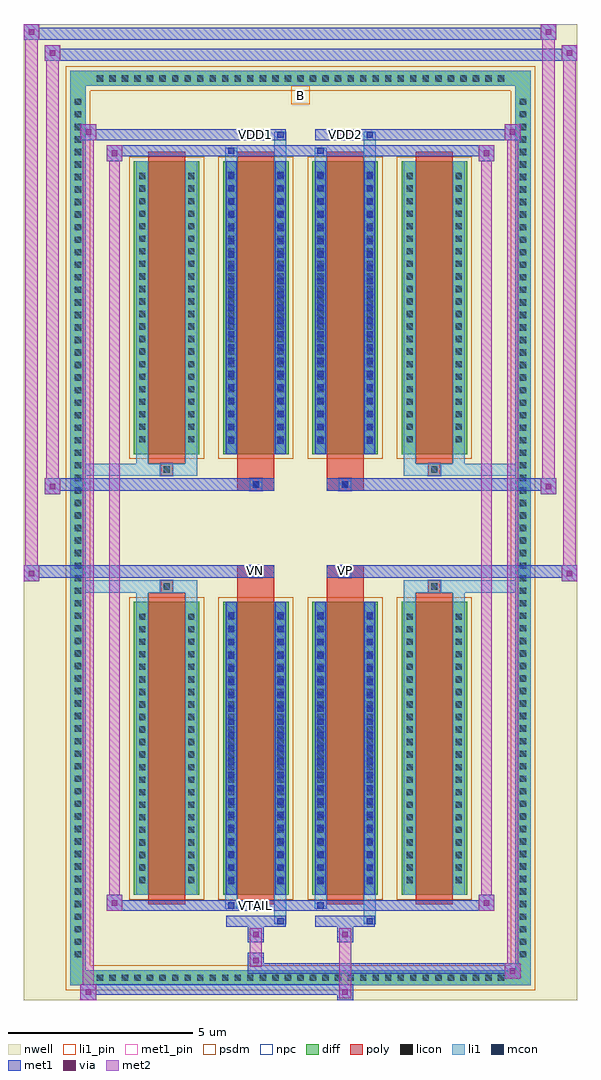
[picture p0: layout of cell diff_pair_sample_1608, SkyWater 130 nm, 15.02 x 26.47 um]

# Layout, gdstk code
import gdstk
lib = gdstk.Library(unit=1e-6, precision=5e-09)
def R(c, l, rs):  # rectangles x0, y0, x1, y1
    for r in rs: c.add(gdstk.rectangle(r[:2], r[2:], *l))
def A(c, l, x, y, w, h, nx, ny, dx, dy):  # array of equal rectangles
    R(c, l, [(x+i*dx, y+j*dy, x+i*dx+w, y+j*dy+h) for i in range(nx) for j in range(ny)])
def P(c, l, *ps):  # polygons
    for p in ps: c.add(gdstk.Polygon(p, *l))
nwell = (64, 20)
diff = (65, 20)
poly = (66, 20)
licon = (66, 44)
li1_pin = (67, 16)
li1 = (67, 20)
mcon = (67, 44)
met1_pin = (68, 16)
met1 = (68, 20)
via = (68, 44)
met2 = (69, 20)
psdm = (94, 20)
npc = (95, 20)

diff_pair_sample_1608 = lib.new_cell('diff_pair_sample_1608')
R(diff_pair_sample_1608, nwell, [(-7.51,-12.8,7.51,13.67), (-4.83,-10.99,-0.01,-0.815), (0.01,-10.99,4.83,-0.815), (-4.83,0.815,-0.01,10.99), (0.01,0.815,4.83,10.99)])
A(diff_pair_sample_1608, diff, -5.645, -12.4, 0.41, 0.41, 33, 2, 0.34, 24.39)
A(diff_pair_sample_1608, diff, -6.24, -11.765, 0.41, 0.41, 1, 69, 0, 0.34)
A(diff_pair_sample_1608, diff, 5.83, -11.765, 0.41, 0.41, 1, 69, 0, 0.34)
A(diff_pair_sample_1608, diff, -4.52, -9.945, 1.78, 7.94, 4, 2, 2.42, 11.95)
R(diff_pair_sample_1608, diff, [(-5.645,-12.4,5.645,-11.99), (-6.24,-11.765,-5.83,11.765), (5.83,-11.765,6.24,11.765), (-5.645,11.99,5.645,12.4)])
P(diff_pair_sample_1608, diff, [(6.24,12.4),(-6.24,12.4),(-6.24,-11.99),(-5.83,-11.99),(-5.83,11.99),(5.83,11.99),(5.83,-11.99),(-5.83,-11.99),(-6.24,-11.99),(-6.24,-12.4),(6.24,-12.4)])
A(diff_pair_sample_1608, poly, -4.13, -10.2, 1, 8.45, 4, 2, 2.42, 11.95)
R(diff_pair_sample_1608, poly, [(-3.795,-1.75,-3.465,-1.42), (-3.795,-1.75,-3.465,-1.42), (-1.71,-1.75,-0.71,-1.345), (0.71,-1.75,1.71,-1.345), (3.465,-1.75,3.795,-1.42), (3.465,-1.75,3.795,-1.42), (-1.71,-1.345,-0.71,-1.015), (-1.375,-1.345,-1.045,-1.015), (0.71,-1.345,1.71,-1.015), (1.045,-1.345,1.375,-1.015), (-1.71,1.015,-0.71,1.345), (-1.375,1.015,-1.045,1.345), (0.71,1.015,1.71,1.345), (1.045,1.015,1.375,1.345), (-1.71,1.345,-0.71,1.75), (0.71,1.345,1.71,1.75), (-3.795,1.42,-3.465,1.75), (-3.795,1.42,-3.465,1.75), (3.465,1.42,3.795,1.75), (3.465,1.42,3.795,1.75)])
A(diff_pair_sample_1608, licon, -5.525, -12.28, 0.17, 0.17, 33, 2, 0.34, 24.39)
A(diff_pair_sample_1608, licon, -6.12, -11.645, 0.17, 0.17, 1, 69, 0, 0.34)
A(diff_pair_sample_1608, licon, 5.95, -11.645, 0.17, 0.17, 1, 69, 0, 0.34)
A(diff_pair_sample_1608, licon, -4.38, -9.63, 0.17, 0.17, 1, 22, 0, 0.34)
A(diff_pair_sample_1608, licon, -3.05, -9.63, 0.17, 0.17, 1, 22, 0, 0.34)
A(diff_pair_sample_1608, licon, -1.96, -9.63, 0.17, 0.17, 1, 22, 0, 0.34)
A(diff_pair_sample_1608, licon, -0.63, -9.63, 0.17, 0.17, 1, 22, 0, 0.34)
A(diff_pair_sample_1608, licon, 0.46, -9.63, 0.17, 0.17, 1, 22, 0, 0.34)
A(diff_pair_sample_1608, licon, 1.79, -9.63, 0.17, 0.17, 1, 22, 0, 0.34)
A(diff_pair_sample_1608, licon, 2.88, -9.63, 0.17, 0.17, 1, 22, 0, 0.34)
A(diff_pair_sample_1608, licon, 4.21, -9.63, 0.17, 0.17, 1, 22, 0, 0.34)
A(diff_pair_sample_1608, licon, -4.38, 2.32, 0.17, 0.17, 1, 22, 0, 0.34)
A(diff_pair_sample_1608, licon, -3.05, 2.32, 0.17, 0.17, 1, 22, 0, 0.34)
A(diff_pair_sample_1608, licon, -1.96, 2.32, 0.17, 0.17, 1, 22, 0, 0.34)
A(diff_pair_sample_1608, licon, -0.63, 2.32, 0.17, 0.17, 1, 22, 0, 0.34)
A(diff_pair_sample_1608, licon, 0.46, 2.32, 0.17, 0.17, 1, 22, 0, 0.34)
A(diff_pair_sample_1608, licon, 1.79, 2.32, 0.17, 0.17, 1, 22, 0, 0.34)
A(diff_pair_sample_1608, licon, 2.88, 2.32, 0.17, 0.17, 1, 22, 0, 0.34)
A(diff_pair_sample_1608, licon, 4.21, 2.32, 0.17, 0.17, 1, 22, 0, 0.34)
R(diff_pair_sample_1608, licon, [(-3.715,-1.67,-3.545,-1.5), (3.545,-1.67,3.715,-1.5), (-1.295,-1.265,-1.125,-1.095), (1.125,-1.265,1.295,-1.095), (-1.295,1.095,-1.125,1.265), (1.125,1.095,1.295,1.265), (-3.715,1.5,-3.545,1.67), (3.545,1.5,3.715,1.67)])
R(diff_pair_sample_1608, li1_pin, [(-0.25,11.49,0.25,11.99)])
A(diff_pair_sample_1608, li1, -5.605, -12.36, 0.33, 0.33, 33, 2, 0.34, 24.39)
A(diff_pair_sample_1608, li1, -6.2, -11.725, 0.33, 0.33, 1, 69, 0, 0.34)
A(diff_pair_sample_1608, li1, 5.87, -11.725, 0.33, 0.33, 1, 69, 0, 0.34)
A(diff_pair_sample_1608, li1, -4.46, -9.71, 0.33, 0.33, 1, 22, 0, 0.34)
A(diff_pair_sample_1608, li1, -3.13, -9.71, 0.33, 0.33, 1, 22, 0, 0.34)
A(diff_pair_sample_1608, li1, -2.04, -9.71, 0.33, 0.33, 1, 22, 0, 0.34)
A(diff_pair_sample_1608, li1, -0.71, -9.71, 0.33, 0.33, 1, 22, 0, 0.34)
A(diff_pair_sample_1608, li1, 0.38, -9.71, 0.33, 0.33, 1, 22, 0, 0.34)
A(diff_pair_sample_1608, li1, 1.71, -9.71, 0.33, 0.33, 1, 22, 0, 0.34)
A(diff_pair_sample_1608, li1, 2.8, -9.71, 0.33, 0.33, 1, 22, 0, 0.34)
A(diff_pair_sample_1608, li1, 4.13, -9.71, 0.33, 0.33, 1, 22, 0, 0.34)
A(diff_pair_sample_1608, li1, -1.96, -9.66, 0.17, 0.17, 1, 21, 0, 0.36)
A(diff_pair_sample_1608, li1, -0.63, -9.66, 0.17, 0.17, 1, 21, 0, 0.36)
A(diff_pair_sample_1608, li1, 0.46, -9.66, 0.17, 0.17, 1, 21, 0, 0.36)
A(diff_pair_sample_1608, li1, 1.79, -9.66, 0.17, 0.17, 1, 21, 0, 0.36)
A(diff_pair_sample_1608, li1, -4.46, 2.24, 0.33, 0.33, 1, 22, 0, 0.34)
A(diff_pair_sample_1608, li1, -3.13, 2.24, 0.33, 0.33, 1, 22, 0, 0.34)
A(diff_pair_sample_1608, li1, -2.04, 2.24, 0.33, 0.33, 1, 22, 0, 0.34)
A(diff_pair_sample_1608, li1, -0.71, 2.24, 0.33, 0.33, 1, 22, 0, 0.34)
A(diff_pair_sample_1608, li1, 0.38, 2.24, 0.33, 0.33, 1, 22, 0, 0.34)
A(diff_pair_sample_1608, li1, 1.71, 2.24, 0.33, 0.33, 1, 22, 0, 0.34)
A(diff_pair_sample_1608, li1, 2.8, 2.24, 0.33, 0.33, 1, 22, 0, 0.34)
A(diff_pair_sample_1608, li1, 4.13, 2.24, 0.33, 0.33, 1, 22, 0, 0.34)
A(diff_pair_sample_1608, li1, -1.96, 2.29, 0.17, 0.17, 1, 21, 0, 0.36)
A(diff_pair_sample_1608, li1, -0.63, 2.29, 0.17, 0.17, 1, 21, 0, 0.36)
A(diff_pair_sample_1608, li1, 0.46, 2.29, 0.17, 0.17, 1, 21, 0, 0.36)
A(diff_pair_sample_1608, li1, 1.79, 2.29, 0.17, 0.17, 1, 21, 0, 0.36)
R(diff_pair_sample_1608, li1, [(-6.24,-12.4,-5.83,-11.99), (-6.24,-12.4,-5.83,-11.99), (-5.83,-12.4,5.83,-11.99), (5.83,-12.4,6.24,-11.99), (5.83,-12.4,6.24,-11.99), (-6.24,-11.99,-5.83,11.99), (5.83,-11.99,6.24,11.99), (-0.71,-10.75,-0.38,-9.945), (-0.63,-10.75,-0.46,-10.58), (1.71,-10.75,2.04,-9.945), (1.79,-10.75,1.96,-10.58), (-2.04,-10.32,-1.71,-9.945), (-1.96,-10.32,-1.79,-10.15), (0.38,-10.32,0.71,-9.945), (0.46,-10.32,0.63,-10.15), (-4.46,-9.945,-4.13,-2.005), (-3.13,-9.945,-2.8,-2.005), (-2.04,-9.945,-1.71,-2.005), (-0.71,-9.945,-0.38,-2.005), (0.38,-9.945,0.71,-2.005), (1.71,-9.945,2.04,-2.005), (2.8,-9.945,3.13,-2.005), (4.13,-9.945,4.46,-2.005), (-1.96,-9.66,-1.79,-2.29), (-0.63,-9.66,-0.46,-2.29), (0.46,-9.66,0.63,-2.29), (1.79,-9.66,1.96,-2.29), (-4.46,-2.005,-4.13,-1.42), (-3.13,-2.005,-2.8,-1.42), (2.8,-2.005,3.13,-1.42), (4.13,-2.005,4.46,-1.42), (-6.24,-1.75,-3.795,-1.42), (-4.46,-1.75,-3.795,-1.42), (-3.795,-1.75,-3.465,-1.42), (-3.465,-1.75,-2.8,-1.42), (2.8,-1.75,3.465,-1.42), (3.465,-1.75,3.795,-1.42), (3.465,-1.75,6.24,-1.42), (3.795,-1.75,4.46,-1.42), (-1.375,-1.345,-1.045,-1.015), (1.045,-1.345,1.375,-1.015), (-1.375,1.015,-1.045,1.345), (1.045,1.015,1.375,1.345), (-6.24,1.42,-3.795,1.75), (-4.46,1.42,-3.795,1.75), (-4.46,1.42,-4.13,2.005), (-3.795,1.42,-3.465,1.75), (-3.465,1.42,-2.8,1.75), (-3.13,1.42,-2.8,2.005), (2.8,1.42,3.465,1.75), (2.8,1.42,3.13,2.005), (3.465,1.42,3.795,1.75), (3.465,1.42,6.24,1.75), (3.795,1.42,4.46,1.75), (4.13,1.42,4.46,2.005), (-4.46,2.005,-4.13,9.945), (-3.13,2.005,-2.8,9.945), (-2.04,2.005,-1.71,9.945), (-0.71,2.005,-0.38,9.945), (0.38,2.005,0.71,9.945), (1.71,2.005,2.04,9.945), (2.8,2.005,3.13,9.945), (4.13,2.005,4.46,9.945), (-1.96,2.29,-1.79,9.66), (-0.63,2.29,-0.46,9.66), (0.46,2.29,0.63,9.66), (1.79,2.29,1.96,9.66), (-2.04,9.945,-1.71,10.32), (-0.71,9.945,-0.38,10.75), (0.38,9.945,0.71,10.32), (1.71,9.945,2.04,10.75), (-1.96,10.15,-1.79,10.32), (0.46,10.15,0.63,10.32), (-0.63,10.58,-0.46,10.75), (1.79,10.58,1.96,10.75), (-6.24,11.99,-5.83,12.4), (-6.24,11.99,-5.83,12.4), (-5.83,11.99,5.83,12.4), (5.83,11.99,6.24,12.4), (5.83,11.99,6.24,12.4)])
A(diff_pair_sample_1608, mcon, -1.96, -9.66, 0.17, 0.17, 1, 21, 0, 0.36)
A(diff_pair_sample_1608, mcon, -0.63, -9.66, 0.17, 0.17, 1, 21, 0, 0.36)
A(diff_pair_sample_1608, mcon, 0.46, -9.66, 0.17, 0.17, 1, 21, 0, 0.36)
A(diff_pair_sample_1608, mcon, 1.79, -9.66, 0.17, 0.17, 1, 21, 0, 0.36)
A(diff_pair_sample_1608, mcon, -1.96, 2.29, 0.17, 0.17, 1, 21, 0, 0.36)
A(diff_pair_sample_1608, mcon, -0.63, 2.29, 0.17, 0.17, 1, 21, 0, 0.36)
A(diff_pair_sample_1608, mcon, 0.46, 2.29, 0.17, 0.17, 1, 21, 0, 0.36)
A(diff_pair_sample_1608, mcon, 1.79, 2.29, 0.17, 0.17, 1, 21, 0, 0.36)
R(diff_pair_sample_1608, mcon, [(-0.63,-10.75,-0.46,-10.58), (1.79,-10.75,1.96,-10.58), (-1.96,-10.32,-1.79,-10.15), (0.46,-10.32,0.63,-10.15), (-1.295,-1.265,-1.125,-1.095), (1.125,-1.265,1.295,-1.095), (-1.295,1.095,-1.125,1.265), (1.125,1.095,1.295,1.265), (-1.96,10.15,-1.79,10.32), (0.46,10.15,0.63,10.32), (-0.63,10.58,-0.46,10.75), (1.79,10.58,1.96,10.75)])
R(diff_pair_sample_1608, met1_pin, [(-1.345,-10.36,-1.075,-10.09), (-1.345,-1.285,-1.075,-1.015), (1.075,-1.285,1.345,-1.015), (-1.345,10.54,-1.075,10.81), (1.075,10.54,1.345,10.81)])
A(diff_pair_sample_1608, met1, -2.02, -9.72, 0.29, 0.29, 1, 21, 0, 0.36)
A(diff_pair_sample_1608, met1, -0.69, -9.72, 0.29, 0.29, 1, 21, 0, 0.36)
A(diff_pair_sample_1608, met1, 0.4, -9.72, 0.29, 0.29, 1, 21, 0, 0.36)
A(diff_pair_sample_1608, met1, 1.73, -9.72, 0.29, 0.29, 1, 21, 0, 0.36)
A(diff_pair_sample_1608, met1, -2.02, 2.23, 0.29, 0.29, 1, 21, 0, 0.36)
A(diff_pair_sample_1608, met1, -0.69, 2.23, 0.29, 0.29, 1, 21, 0, 0.36)
A(diff_pair_sample_1608, met1, 0.4, 2.23, 0.29, 0.29, 1, 21, 0, 0.36)
A(diff_pair_sample_1608, met1, 1.73, 2.23, 0.29, 0.29, 1, 21, 0, 0.36)
R(diff_pair_sample_1608, met1, [(-5.97,-12.8,-5.54,-12.37), (0.995,-12.8,1.425,-12.37), (-5.97,-12.66,1.425,-12.37), (5.54,-12.23,5.97,-11.8), (-1.425,-12.09,5.97,-11.8), (-1.425,-11.95,-0.995,-11.52), (-1.425,-11.24,-0.995,-10.81), (0.995,-11.24,1.425,-10.81), (-2.02,-10.81,-0.4,-10.52), (-0.69,-10.81,-0.4,-10.52), (0.4,-10.81,2.02,-10.52), (1.73,-10.81,2.02,-10.52), (-5.26,-10.38,-4.83,-9.95), (-5.26,-10.38,-2.02,-10.09), (-2.02,-10.38,-1.73,-10.09), (-2.02,-10.38,-0.4,-10.09), (-0.4,-10.38,0.4,-10.09), (0.4,-10.38,0.69,-10.09), (0.4,-10.38,2.02,-10.09), (2.02,-10.38,5.26,-10.09), (4.83,-10.38,5.26,-9.95), (-2.02,-9.945,-1.73,-2.005), (-0.69,-9.945,-0.4,-2.005), (0.4,-9.945,0.69,-2.005), (1.73,-9.945,2.02,-2.005), (-7.51,-1.445,-7.08,-1.015), (7.08,-1.445,7.51,-1.015), (-7.51,-1.345,-0.71,-1.015), (-1.71,-1.345,-0.71,-1.015), (0.71,-1.345,1.71,-1.015), (0.71,-1.345,7.51,-1.015), (-1.355,-1.325,-1.065,-1.035), (1.065,-1.325,1.355,-1.035), (-6.94,0.915,-6.51,1.345), (6.51,0.915,6.94,1.345), (-6.94,1.015,-1.71,1.345), (-1.71,1.015,-0.71,1.345), (0.71,1.015,1.71,1.345), (1.71,1.015,6.94,1.345), (-1.355,1.035,-1.065,1.325), (1.065,1.035,1.355,1.325), (-2.02,2.005,-1.73,9.945), (-0.69,2.005,-0.4,9.945), (0.4,2.005,0.69,9.945), (1.73,2.005,2.02,9.945), (-5.26,9.95,-4.83,10.38), (4.83,9.95,5.26,10.38), (-5.26,10.09,-2.02,10.38), (-2.02,10.09,-1.73,10.38), (-2.02,10.09,-0.4,10.38), (-0.4,10.09,0.4,10.38), (0.4,10.09,0.69,10.38), (0.4,10.09,2.02,10.38), (2.02,10.09,5.26,10.38), (-5.97,10.52,-5.54,10.95), (-5.97,10.52,-2.02,10.81), (-2.02,10.52,-0.4,10.81), (-0.69,10.52,-0.4,10.81), (0.4,10.52,2.02,10.81), (1.73,10.52,2.02,10.81), (2.02,10.52,5.97,10.81), (5.54,10.52,5.97,10.95), (-6.94,12.67,-6.51,13.1), (-6.94,12.67,-4.83,13), (-4.83,12.67,4.83,13), (4.83,12.67,7.51,13), (7.08,12.67,7.51,13.1), (-7.51,13.24,-7.08,13.67), (-7.51,13.24,-4.83,13.57), (-4.83,13.24,4.83,13.57), (4.83,13.24,6.94,13.57), (6.51,13.24,6.94,13.67)])
R(diff_pair_sample_1608, via, [(-5.83,-12.66,-5.68,-12.51), (1.135,-12.66,1.285,-12.51), (5.68,-12.09,5.83,-11.94), (-1.285,-11.81,-1.135,-11.66), (-1.285,-11.1,-1.135,-10.95), (1.135,-11.1,1.285,-10.95), (-5.12,-10.24,-4.97,-10.09), (4.97,-10.24,5.12,-10.09), (-7.37,-1.305,-7.22,-1.155), (7.22,-1.305,7.37,-1.155), (-6.8,1.055,-6.65,1.205), (6.65,1.055,6.8,1.205), (-5.12,10.09,-4.97,10.24), (4.97,10.09,5.12,10.24), (-5.83,10.66,-5.68,10.81), (5.68,10.66,5.83,10.81), (-6.8,12.81,-6.65,12.96), (7.22,12.81,7.37,12.96), (-7.37,13.38,-7.22,13.53), (6.65,13.38,6.8,13.53)])
R(diff_pair_sample_1608, met2, [(-5.97,-12.8,-5.54,-12.37), (-5.9,-12.8,-5.61,10.95), (-5.61,-12.8,-5.54,-12.37), (-5.92,-12.75,-5.59,-12.42), (1.045,-12.75,1.375,-12.42), (1.045,-12.42,1.375,-11.19), (5.54,-12.23,5.97,-11.8), (5.61,-12.23,5.9,10.95), (5.9,-12.23,5.97,-11.8), (5.59,-12.18,5.92,-11.85), (-1.375,-11.9,-1.045,-11.57), (-1.375,-11.57,-1.045,-11.19), (-1.375,-11.19,-1.045,-10.86), (1.045,-11.19,1.375,-10.86), (-5.26,-10.38,-4.83,-9.95), (-5.19,-10.38,-4.9,10.38), (-4.9,-10.38,-4.83,-9.95), (4.83,-10.38,5.26,-9.95), (4.9,-10.38,5.19,10.38), (5.19,-10.38,5.26,-9.95), (-5.21,-10.33,-4.88,-10), (4.88,-10.33,5.21,-10), (-7.51,-1.445,-7.08,-1.015), (-7.46,-1.445,-7.13,13.67), (-7.13,-1.445,-7.08,-1.015), (7.08,-1.445,7.51,-1.015), (7.13,-1.445,7.46,13.1), (7.46,-1.445,7.51,-1.015), (-7.46,-1.395,-7.13,-1.065), (7.13,-1.395,7.46,-1.065), (-6.94,0.915,-6.51,1.345), (-6.89,0.915,-6.56,13.1), (-6.56,0.915,-6.51,1.345), (6.51,0.915,6.94,1.345), (6.56,0.915,6.89,13.67), (6.89,0.915,6.94,1.345), (-6.89,0.965,-6.56,1.295), (6.56,0.965,6.89,1.295), (-5.26,9.95,-4.83,10.38), (-4.9,9.95,-4.83,10.38), (4.83,9.95,5.26,10.38), (5.19,9.95,5.26,10.38), (-5.21,10,-4.88,10.33), (4.88,10,5.21,10.33), (-5.97,10.52,-5.54,10.95), (-5.61,10.52,-5.54,10.95), (5.54,10.52,5.97,10.95), (5.9,10.52,5.97,10.95), (-5.92,10.57,-5.59,10.9), (5.59,10.57,5.92,10.9), (-6.94,12.67,-6.51,13.1), (-6.56,12.67,-6.51,13.1), (7.08,12.67,7.51,13.1), (7.46,12.67,7.51,13.1), (-6.89,12.72,-6.56,13.05), (7.13,12.72,7.46,13.05), (-7.51,13.24,-7.08,13.67), (-7.13,13.24,-7.08,13.67), (6.51,13.24,6.94,13.67), (6.89,13.24,6.94,13.67), (-7.46,13.29,-7.13,13.62), (6.56,13.29,6.89,13.62)])
A(diff_pair_sample_1608, psdm, -4.65, -10.075, 2.04, 8.2, 4, 2, 2.42, 11.95)
P(diff_pair_sample_1608, psdm, [(6.37,12.53),(-6.37,12.53),(-6.37,-11.86),(-5.7,-11.86),(-5.7,11.86),(5.7,11.86),(5.7,-11.86),(-5.7,-11.86),(-6.37,-11.86),(-6.37,-12.53),(6.37,-12.53)])
R(diff_pair_sample_1608, npc, [(-3.815,-1.77,-3.445,-1.4), (3.445,-1.77,3.815,-1.4), (-1.395,-1.365,-1.025,-0.995), (1.025,-1.365,1.395,-0.995), (-1.395,0.995,-1.025,1.365), (1.025,0.995,1.395,1.365), (-3.815,1.4,-3.445,1.77), (3.445,1.4,3.815,1.77)])
diff_pair_sample_1608.add(gdstk.Label('VTAIL', (-1.21,-10.225), layer=68, texttype=5))
diff_pair_sample_1608.add(gdstk.Label('VN', (-1.21,-1.15), layer=68, texttype=5))
diff_pair_sample_1608.add(gdstk.Label('VP', (1.21,-1.15), layer=68, texttype=5))
diff_pair_sample_1608.add(gdstk.Label('B', (0,11.74), layer=67, texttype=5))
diff_pair_sample_1608.add(gdstk.Label('VDD2', (1.21,10.675), layer=68, texttype=5))
diff_pair_sample_1608.add(gdstk.Label('VDD1', (-1.21,10.675), layer=68, texttype=5))

lib.write_gds('diff_pair_sample_1608.gds')
